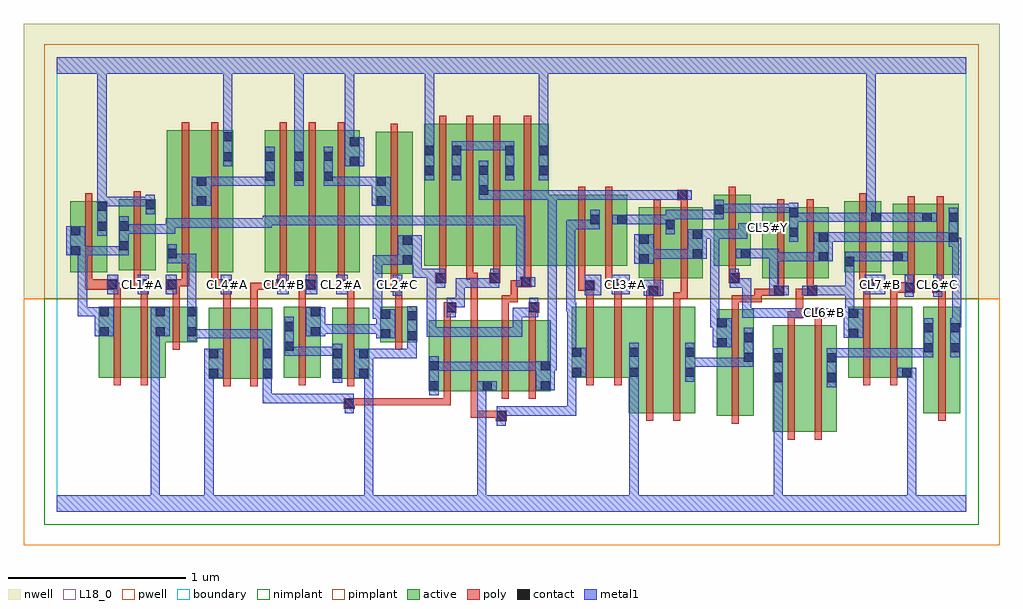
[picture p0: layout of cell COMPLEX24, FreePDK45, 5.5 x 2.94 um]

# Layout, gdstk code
import gdstk
lib = gdstk.Library(unit=1e-6, precision=1e-09)
def R(c, l, rs):  # rectangles x0, y0, x1, y1
    for r in rs: c.add(gdstk.rectangle(r[:2], r[2:], *l))
def A(c, l, x, y, w, h, nx, ny, dx, dy):  # array of equal rectangles
    R(c, l, [(x+i*dx, y+j*dy, x+i*dx+w, y+j*dy+h) for i in range(nx) for j in range(ny)])
active = (1, 0)
pwell = (2, 0)
nwell = (3, 0)
nimplant = (4, 0)
pimplant = (5, 0)
poly = (9, 0)
contact = (10, 0)
metal1 = (11, 0)
L18_0 = (18, 0)
boundary = (235, 0)

complex24 = lib.new_cell('COMPLEX24')
R(complex24, active, [(4.032,0.45,4.092,1.05), (4.032,0.45,4.212,1.05), (4.212,0.45,4.392,1.05), (3.716,0.54,3.924,1.14), (3.22,0.556,3.28,1.156), (3.22,0.556,3.414,1.156), (3.414,0.556,3.594,1.156), (3.534,0.556,3.594,1.156), (3.716,0.556,3.776,1.14), (3.864,0.556,3.924,1.14), (4.332,0.556,4.392,1.05), (4.88,0.556,4.94,1.156), (4.88,0.556,5.088,1.156), (5.028,0.556,5.088,1.156), (2.094,0.68,2.154,1.08), (2.094,0.68,2.274,1.08), (2.274,0.68,2.454,1.08), (2.394,0.68,2.6,1.08), (2.394,0.68,2.454,0.758), (2.6,0.68,2.78,1.08), (2.72,0.68,2.78,1.08), (0.854,0.75,0.914,1.15), (0.854,0.75,1.034,1.15), (1.034,0.75,1.214,1.15), (1.154,0.75,1.214,1.15), (1.55,0.75,1.61,1.15), (1.55,0.75,1.758,1.15), (1.698,0.75,1.758,1.15), (0.236,0.756,0.296,1.156), (0.236,0.756,0.416,1.156), (0.416,0.756,0.612,1.156), (0.552,0.756,0.612,1.156), (1.278,0.756,1.338,1.156), (1.278,0.756,1.486,1.156), (1.426,0.756,1.486,1.156), (2.898,0.756,2.958,1.156), (2.898,0.756,3.084,1.156), (3.084,0.756,3.28,1.156), (4.456,0.756,4.516,1.156), (4.456,0.756,4.636,1.156), (4.636,0.756,4.816,1.156), (4.756,0.756,4.816,1.156), (0.552,0.956,0.79,1.156), (0.73,0.956,0.79,1.156), (1.822,0.956,1.882,1.156), (1.822,0.956,2.03,1.156), (1.97,0.956,2.03,1.156), (3.276,1.314,3.484,1.714), (3.276,1.314,3.336,1.644), (3.424,1.314,3.484,1.714), (3.424,1.314,3.636,1.714), (3.576,1.314,3.636,1.644), (3.972,1.316,4.032,1.716), (3.972,1.316,4.18,1.716), (4.12,1.316,4.18,1.716), (4.12,1.316,4.346,1.716), (4.286,1.316,4.346,1.644), (4.706,1.334,4.93,1.734), (4.706,1.334,4.766,1.644), (4.87,1.334,5.078,1.734), (5.018,1.334,5.078,1.734), (1.796,1.34,2.004,2.14), (1.796,1.34,1.856,2.044), (1.944,1.34,2.004,2.044), (0.076,1.35,0.136,1.75), (0.076,1.35,0.284,1.75), (0.224,1.35,0.284,1.75), (0.62,1.35,0.844,2.15), (0.62,1.35,0.68,2.044), (0.784,1.35,0.992,2.15), (0.932,1.35,0.992,2.15), (1.17,1.35,1.394,2.15), (1.17,1.35,1.23,2.044), (1.334,1.35,1.558,2.15), (1.498,1.35,1.706,2.15), (1.646,1.35,1.706,2.15), (4.434,1.35,4.642,1.75), (4.434,1.35,4.494,1.644), (0.348,1.36,0.556,1.76), (0.348,1.36,0.408,1.644), (2.068,1.386,2.28,2.186), (2.22,1.386,2.28,2.186), (2.22,1.386,2.432,2.186), (2.372,1.386,2.58,2.186), (2.372,1.386,2.432,2.044), (2.52,1.386,2.77,2.186), (2.52,1.386,2.58,2.186), (2.71,1.386,3.06,1.786), (3,1.386,3.06,1.786), (3,1.386,3.212,1.786), (3.152,1.386,3.212,1.786), (3.7,1.386,3.76,1.786), (3.7,1.386,3.908,1.786), (3.848,1.386,3.908,1.644), (0.496,1.452,0.556,1.76), (4.582,1.452,4.642,1.75), (2.71,1.464,2.77,2.186), (4.87,1.464,4.93,1.734), (2.068,1.572,2.128,2.186), (0.784,1.686,0.844,2.044), (1.334,1.686,1.394,2.15), (1.498,1.686,1.558,2.044)])
R(complex24, pwell, [(-0.188,-0.188,5.308,1.2)])
R(complex24, nwell, [(-0.188,1.2,5.308,2.748)])
R(complex24, nimplant, [(-0.072,-0.072,5.192,1.2)])
R(complex24, pimplant, [(-0.072,1.2,5.192,2.632)])
A(complex24, poly, 1.254, 1.27, 0.04, 0.076, 3, 1, 0.164, 0)
A(complex24, poly, 1.254, 1.306, 0.04, 0.888, 3, 1, 0.164, 0)
A(complex24, poly, 2.152, 1.306, 0.04, 0.076, 3, 1, 0.152, 0)
A(complex24, poly, 2.152, 1.342, 0.04, 0.888, 3, 1, 0.152, 0)
R(complex24, poly, [(4.116,0.406,4.156,1.094), (4.268,0.406,4.308,1.094), (3.8,0.496,3.84,1.184), (2.472,0.51,2.532,0.57), (3.318,0.512,3.358,1.2), (3.47,0.512,3.51,1.2), (4.964,0.512,5.004,1.2), (2.33,0.53,2.37,0.57), (2.33,0.53,2.37,0.57), (2.33,0.53,2.37,0.57), (2.33,0.53,2.512,0.57), (2.33,0.53,2.37,0.676), (1.616,0.58,1.676,0.64), (1.636,0.6,1.676,0.64), (1.636,0.6,1.676,0.64), (1.636,0.6,1.782,0.64), (1.742,0.6,1.782,0.64), (1.742,0.6,1.782,0.64), (1.742,0.6,1.782,0.64), (1.742,0.6,1.888,0.64), (1.848,0.6,1.888,0.64), (1.848,0.6,2.218,0.64), (2.178,0.6,2.218,0.676), (2.178,0.6,2.218,0.64), (2.178,0.6,2.218,0.64), (2.178,0.6,2.218,0.64), (2.178,0.636,2.218,1.124), (2.33,0.636,2.37,1.124), (2.504,0.636,2.544,1.124), (2.656,0.636,2.696,1.124), (0.938,0.706,0.978,1.194), (1.09,0.706,1.13,1.194), (1.634,0.706,1.674,1.194), (0.32,0.712,0.36,1.2), (0.472,0.712,0.512,1.2), (1.362,0.712,1.402,1.2), (2.982,0.712,3.022,1.2), (3.14,0.712,3.18,1.2), (4.54,0.712,4.58,1.2), (4.692,0.712,4.732,1.2), (0.652,0.912,0.692,1.2), (1.906,0.912,1.946,1.2), (4.116,1.054,4.156,1.13), (4.268,1.054,4.308,1.13), (2.178,1.084,2.218,1.16), (2.33,1.084,2.37,1.346), (2.504,1.084,2.544,1.22), (2.656,1.084,2.696,1.16), (4.116,1.09,4.156,1.13), (4.116,1.09,4.202,1.13), (4.162,1.09,4.202,1.13), (4.162,1.09,4.202,1.256), (4.268,1.09,4.328,1.15), (2.178,1.12,2.25,1.18), (2.656,1.12,2.716,1.18), (3.8,1.144,3.84,1.22), (0.938,1.154,0.978,1.29), (1.09,1.154,1.13,1.29), (1.634,1.154,1.674,1.29), (0.32,1.16,0.36,1.29), (0.472,1.16,0.512,1.29), (0.652,1.16,0.692,1.29), (1.362,1.16,1.402,1.29), (1.906,1.16,1.946,1.28), (2.982,1.16,3.022,1.284), (3.14,1.16,3.18,1.29), (3.318,1.16,3.358,1.254), (3.47,1.16,3.51,1.236), (4.54,1.16,4.58,1.29), (4.692,1.16,4.732,1.274), (4.964,1.16,5.004,1.274), (2.504,1.18,2.544,1.22), (2.504,1.18,2.596,1.22), (2.556,1.18,2.596,1.22), (2.556,1.18,2.596,1.304), (3.8,1.18,3.84,1.22), (3.8,1.18,3.84,1.22), (3.8,1.18,3.84,1.22), (3.8,1.18,3.968,1.22), (3.928,1.18,3.968,1.256), (3.928,1.18,3.968,1.22), (3.47,1.196,3.51,1.236), (3.47,1.196,3.51,1.236), (3.47,1.196,3.552,1.236), (3.512,1.196,3.552,1.31), (3.318,1.214,3.37,1.254), (3.33,1.214,3.37,1.254), (3.33,1.214,3.4,1.274), (3.928,1.216,3.968,1.256), (3.928,1.216,4.076,1.256), (4.036,1.216,4.096,1.276), (4.162,1.216,4.202,1.256), (4.162,1.216,4.262,1.256), (4.222,1.216,4.282,1.276), (3.36,1.234,3.4,1.31), (4.692,1.234,4.83,1.294), (4.93,1.234,4.994,1.294), (4.954,1.234,4.994,1.274), (4.954,1.234,5.004,1.274), (4.056,1.236,4.096,1.312), (4.222,1.236,4.262,1.312), (1.88,1.24,1.946,1.3), (1.906,1.24,1.946,1.28), (1.906,1.24,1.946,1.28), (2.936,1.244,3.028,1.304), (2.982,1.244,3.022,1.284), (2.982,1.244,3.022,1.284), (0.16,1.25,0.34,1.31), (0.3,1.25,0.34,1.29), (0.3,1.25,0.36,1.29), (0.432,1.25,0.51,1.31), (0.47,1.25,0.51,1.29), (0.47,1.25,0.512,1.29), (0.62,1.25,0.692,1.31), (0.868,1.25,0.978,1.31), (0.938,1.25,0.978,1.29), (0.938,1.25,0.978,1.29), (1.09,1.25,1.276,1.29), (1.236,1.25,1.276,1.29), (1.236,1.25,1.296,1.31), (1.362,1.25,1.438,1.29), (1.398,1.25,1.438,1.29), (1.398,1.25,1.458,1.31), (1.582,1.25,1.642,1.31), (1.602,1.25,1.642,1.29), (1.602,1.25,1.674,1.29), (3.088,1.25,3.18,1.31), (3.14,1.25,3.18,1.29), (3.14,1.25,3.18,1.29), (4.518,1.25,4.604,1.31), (4.54,1.25,4.58,1.29), (4.54,1.25,4.58,1.29), (4.79,1.254,4.83,1.33), (4.79,1.254,4.83,1.294), (4.79,1.254,4.83,1.294), (4.954,1.254,4.994,1.33), (1.88,1.26,1.92,1.336), (2.556,1.264,2.596,1.304), (2.556,1.264,2.65,1.304), (2.61,1.264,2.67,1.324), (2.936,1.264,2.976,1.382), (0.16,1.27,0.2,1.346), (0.432,1.27,0.472,1.356), (0.652,1.27,0.692,1.31), (0.652,1.27,0.744,1.31), (0.704,1.27,0.744,1.346), (0.868,1.27,0.908,1.346), (3.088,1.27,3.128,1.382), (3.36,1.27,3.4,1.758), (3.512,1.27,3.552,1.758), (4.518,1.27,4.558,1.346), (4.056,1.272,4.096,1.76), (4.222,1.272,4.262,1.76), (2.63,1.284,2.67,1.382), (2.132,1.286,2.192,1.346), (2.436,1.286,2.496,1.346), (3.784,1.286,3.844,1.346), (4.79,1.29,4.83,1.778), (4.954,1.29,4.994,1.778), (1.88,1.296,1.92,2.184), (0.16,1.306,0.2,1.794), (0.704,1.306,0.744,2.194), (0.868,1.306,0.908,2.194), (2.304,1.306,2.356,1.346), (2.316,1.306,2.356,1.346), (2.316,1.306,2.37,1.346), (3.784,1.306,3.824,1.382), (4.518,1.306,4.558,1.794), (0.432,1.316,0.472,1.804), (2.63,1.342,2.67,2.23), (2.936,1.342,2.976,1.83), (3.088,1.342,3.128,1.83), (3.784,1.342,3.824,1.83), (3.512,1.718,3.552,1.794), (3.492,1.754,3.552,1.814)])
A(complex24, contact, 0.284, 1.254, 0.052, 0.052, 3, 1, 0.17, 0)
A(complex24, contact, 1.174, 1.864, 0.052, 0.052, 3, 2, 0.164, 0.112)
R(complex24, contact, [(2.476,0.514,2.528,0.566), (1.62,0.584,1.672,0.636), (2.098,0.684,2.15,0.736), (2.398,0.684,2.45,0.736), (2.724,0.684,2.776,0.736), (4.036,0.73,4.088,0.782), (4.336,0.73,4.388,0.782), (0.858,0.754,0.91,0.806), (1.158,0.754,1.21,0.806), (1.554,0.754,1.606,0.806), (1.702,0.754,1.754,0.806), (2.902,0.76,2.954,0.812), (3.224,0.76,3.276,0.812), (3.538,0.76,3.59,0.812), (4.76,0.76,4.812,0.812), (2.098,0.796,2.15,0.848), (2.724,0.796,2.776,0.848), (4.036,0.842,4.088,0.894), (4.336,0.842,4.388,0.894), (3.868,0.844,3.92,0.896), (0.858,0.866,0.91,0.918), (1.158,0.866,1.21,0.918), (1.554,0.866,1.606,0.918), (1.702,0.866,1.754,0.918), (2.902,0.872,2.954,0.924), (3.224,0.872,3.276,0.924), (3.538,0.872,3.59,0.924), (4.884,0.898,4.936,0.95), (5.032,0.898,5.084,0.95), (1.282,0.906,1.334,0.958), (3.72,0.926,3.772,0.978), (3.868,0.956,3.92,1.008), (1.974,0.966,2.026,1.018), (1.826,0.976,1.878,1.028), (4.46,0.98,4.512,1.032), (0.24,0.988,0.292,1.04), (0.556,0.988,0.608,1.04), (0.734,0.988,0.786,1.04), (1.43,0.988,1.482,1.04), (4.884,1.01,4.936,1.062), (5.032,1.01,5.084,1.062), (1.282,1.018,1.334,1.07), (3.72,1.038,3.772,1.09), (1.974,1.078,2.026,1.13), (1.826,1.088,1.878,1.14), (4.46,1.092,4.512,1.144), (4.272,1.094,4.324,1.146), (0.24,1.1,0.292,1.152), (0.556,1.1,0.608,1.152), (0.734,1.1,0.786,1.152), (1.43,1.1,1.482,1.152), (2.194,1.124,2.246,1.176), (2.66,1.124,2.712,1.176), (3.334,1.218,3.386,1.27), (4.04,1.22,4.092,1.272), (4.226,1.22,4.278,1.272), (4.774,1.238,4.826,1.29), (4.934,1.238,4.986,1.29), (1.89,1.244,1.942,1.296), (2.972,1.248,3.024,1.3), (0.922,1.254,0.974,1.306), (1.24,1.254,1.292,1.306), (1.402,1.254,1.454,1.306), (1.586,1.254,1.638,1.306), (3.124,1.254,3.176,1.306), (4.548,1.254,4.6,1.306), (2.614,1.268,2.666,1.32), (2.136,1.29,2.188,1.342), (2.44,1.29,2.492,1.342), (3.788,1.29,3.84,1.342), (4.438,1.384,4.49,1.436), (1.948,1.392,2,1.444), (3.28,1.398,3.332,1.45), (4.29,1.41,4.342,1.462), (4.71,1.412,4.762,1.464), (3.58,1.426,3.632,1.478), (0.624,1.428,0.676,1.48), (3.852,1.428,3.904,1.48), (0.08,1.444,0.132,1.496), (0.352,1.472,0.404,1.524), (1.948,1.504,2,1.556), (3.28,1.51,3.332,1.562), (5.022,1.52,5.074,1.572), (4.29,1.522,4.342,1.574), (3.58,1.538,3.632,1.59), (4.124,1.548,4.176,1.6), (0.08,1.556,0.132,1.608), (3.976,1.574,4.028,1.626), (0.228,1.582,0.28,1.634), (0.352,1.584,0.404,1.636), (3.428,1.592,3.48,1.644), (3.004,1.62,3.056,1.672), (3.156,1.62,3.208,1.672), (4.586,1.632,4.638,1.684), (4.874,1.632,4.926,1.684), (5.022,1.632,5.074,1.684), (4.124,1.66,4.176,1.712), (3.704,1.676,3.756,1.728), (0.228,1.694,0.28,1.746), (0.5,1.704,0.552,1.756), (0.788,1.724,0.84,1.776), (1.8,1.724,1.852,1.776), (3.496,1.758,3.548,1.81), (2.376,1.786,2.428,1.838), (0.788,1.836,0.84,1.888), (1.8,1.836,1.852,1.888), (2.072,1.896,2.124,1.948), (2.224,1.896,2.276,1.948), (2.524,1.896,2.576,1.948), (2.714,1.896,2.766,1.948), (2.376,1.898,2.428,1.95), (1.65,1.946,1.702,1.998), (0.936,1.974,0.988,2.026), (2.072,2.008,2.124,2.06), (2.224,2.008,2.276,2.06), (2.524,2.008,2.576,2.06), (2.714,2.008,2.766,2.06), (1.65,2.058,1.702,2.11), (0.936,2.086,0.988,2.138)])
A(complex24, metal1, 2.246, 1.262, 0.052, 0.052, 3, 1, 0.084, 0)
A(complex24, metal1, 0.938, 1.6, 0.052, 0.052, 3, 1, 0.11, 0)
A(complex24, metal1, 1.174, 1.836, 0.052, 0.22, 3, 1, 0.164, 0)
R(complex24, metal1, [(0,0,5.12,0.092), (0.528,0.04,0.58,0.092), (0.528,0.04,0.58,0.092), (0.528,0.04,0.58,0.092), (0.528,0.04,0.58,0.092), (0.528,0.04,0.58,0.092), (0.528,0.04,0.58,0.092), (0.528,0.04,0.58,1.04), (0.83,0.04,0.882,0.092), (0.83,0.04,0.882,0.092), (0.83,0.04,0.882,0.092), (0.83,0.04,0.882,0.092), (0.83,0.04,0.882,0.092), (0.83,0.04,0.882,0.092), (0.83,0.04,0.882,0.092), (0.83,0.04,0.882,0.092), (0.83,0.04,0.882,0.806), (1.73,0.04,1.782,0.092), (1.73,0.04,1.782,0.092), (1.73,0.04,1.782,0.092), (1.73,0.04,1.782,0.092), (1.73,0.04,1.782,0.092), (1.73,0.04,1.782,0.092), (1.73,0.04,1.782,0.092), (1.73,0.04,1.782,0.092), (1.73,0.04,1.782,0.092), (1.73,0.04,1.782,0.092), (1.73,0.04,1.782,0.806), (2.366,0.04,2.418,0.092), (2.366,0.04,2.418,0.092), (2.366,0.04,2.418,0.092), (2.366,0.04,2.418,0.092), (2.366,0.04,2.418,0.092), (2.366,0.04,2.418,0.092), (2.366,0.04,2.418,0.092), (2.366,0.04,2.418,0.092), (2.366,0.04,2.418,0.092), (2.366,0.04,2.418,0.092), (2.366,0.04,2.418,0.736), (3.224,0.04,3.276,0.092), (3.224,0.04,3.276,0.092), (3.224,0.04,3.276,0.784), (4.036,0.04,4.088,0.754), (4.788,0.04,4.84,0.192), (4.788,0.14,4.84,0.192), (4.788,0.14,4.84,0.192), (4.788,0.14,4.84,0.192), (4.788,0.14,4.84,0.192), (4.788,0.14,4.84,0.192), (4.788,0.14,4.84,0.192), (4.788,0.14,4.84,0.192), (4.788,0.14,4.84,0.192), (4.788,0.14,4.84,0.192), (4.788,0.14,4.84,0.192), (4.788,0.14,4.84,0.192), (4.788,0.14,4.84,0.812), (2.476,0.486,2.528,0.594), (2.476,0.542,2.638,0.594), (2.586,0.542,2.638,0.594), (2.586,0.542,2.748,0.594), (2.696,0.542,2.748,0.594), (2.696,0.542,2.748,0.594), (2.696,0.542,2.748,0.594), (2.696,0.542,2.926,0.594), (2.874,0.542,2.926,0.594), (2.874,0.542,2.926,0.812), (1.62,0.556,1.672,0.664), (1.158,0.612,1.21,0.664), (1.158,0.612,1.32,0.664), (1.158,0.612,1.21,0.778), (1.268,0.612,1.32,0.664), (1.268,0.612,1.32,0.664), (1.268,0.612,1.32,0.664), (1.268,0.612,1.516,0.664), (1.464,0.612,1.516,0.664), (1.464,0.612,1.516,0.664), (1.464,0.612,1.516,0.664), (1.464,0.612,1.672,0.664), (2.098,0.656,2.15,0.876), (2.366,0.684,2.418,0.736), (2.366,0.684,2.418,0.736), (2.366,0.684,2.478,0.736), (2.696,0.684,2.804,0.848), (4.036,0.702,4.088,0.754), (4.036,0.702,4.088,0.754), (4.036,0.702,4.088,0.754), (4.036,0.702,4.088,0.754), (4.036,0.702,4.088,0.754), (4.036,0.702,4.088,0.754), (4.036,0.702,4.088,0.754), (4.036,0.702,4.088,0.754), (4.036,0.702,4.088,0.922), (4.336,0.702,4.388,0.922), (1.158,0.726,1.21,0.778), (1.158,0.726,1.21,0.778), (1.158,0.726,1.21,0.778), (1.158,0.726,1.21,0.778), (1.158,0.726,1.21,0.778), (1.158,0.726,1.21,0.778), (1.158,0.726,1.21,0.946), (1.554,0.726,1.606,0.946), (3.224,0.732,3.276,0.784), (3.224,0.732,3.276,0.784), (3.224,0.732,3.276,0.784), (3.224,0.732,3.276,0.784), (3.224,0.732,3.276,0.784), (3.224,0.732,3.276,0.784), (3.224,0.732,3.276,0.952), (3.538,0.732,3.59,0.952), (0.83,0.754,0.882,0.806), (0.83,0.754,0.882,0.806), (0.83,0.754,0.882,0.806), (0.83,0.754,0.882,0.806), (0.83,0.754,0.938,0.918), (1.674,0.754,1.782,0.918), (1.73,0.754,1.782,0.806), (1.73,0.754,1.782,0.806), (2.874,0.76,2.982,0.924), (4.732,0.76,4.84,0.812), (2.098,0.794,2.272,0.846), (2.22,0.794,2.272,0.846), (2.22,0.794,2.272,0.846), (2.22,0.794,2.272,0.846), (2.22,0.794,2.382,0.846), (2.33,0.794,2.382,0.846), (2.33,0.794,2.466,0.846), (2.414,0.794,2.466,0.846), (2.414,0.794,2.492,0.846), (2.44,0.794,2.492,0.846), (2.44,0.794,2.638,0.846), (2.586,0.794,2.638,0.846), (2.586,0.794,2.638,0.846), (2.586,0.794,2.638,0.846), (2.586,0.794,2.748,0.846), (2.752,0.796,2.804,0.848), (2.752,0.796,2.816,0.848), (2.764,0.796,2.816,1.81), (3.538,0.816,3.594,0.868), (3.542,0.816,3.594,0.868), (3.542,0.816,3.888,0.868), (3.836,0.816,3.888,0.868), (3.836,0.816,3.92,0.868), (3.868,0.816,3.92,1.036), (1.73,0.866,1.782,0.918), (1.73,0.866,1.782,0.918), (1.73,0.866,1.934,0.918), (1.882,0.866,1.934,0.918), (1.882,0.866,2.026,0.918), (1.974,0.866,2.026,0.918), (1.974,0.866,2.026,0.918), (1.974,0.866,2.026,0.918), (1.974,0.866,2.026,0.99), (4.336,0.87,4.498,0.922), (4.446,0.87,4.498,0.922), (4.446,0.87,4.498,0.922), (4.446,0.87,4.498,0.922), (4.446,0.87,4.674,0.922), (4.622,0.87,4.674,0.922), (4.622,0.87,4.674,0.922), (4.622,0.87,4.674,0.922), (4.622,0.87,4.826,0.922), (4.774,0.87,4.826,0.922), (4.774,0.87,4.826,0.922), (4.774,0.87,4.826,0.922), (4.774,0.87,4.936,0.922), (4.884,0.87,4.936,1.09), (5.032,0.87,5.084,1.09), (2.874,0.872,2.926,0.924), (2.874,0.872,2.926,0.924), (2.874,0.872,2.926,0.924), (2.874,0.872,2.926,0.924), (2.874,0.872,2.926,1.18), (1.282,0.878,1.334,0.93), (1.282,0.878,1.334,0.93), (1.282,0.878,1.334,1.098), (1.282,0.878,1.444,0.93), (1.392,0.878,1.444,0.93), (1.392,0.878,1.606,0.93), (1.158,0.894,1.21,0.946), (1.158,0.894,1.21,1.028), (3.692,0.926,3.8,1.09), (1.974,0.938,2.026,1.158), (0.734,0.96,0.786,1.18), (0.734,0.976,0.786,1.028), (0.734,0.976,0.786,1.028), (0.734,0.976,0.99,1.028), (0.938,0.976,0.99,1.028), (0.938,0.976,0.99,1.028), (0.938,0.976,0.99,1.028), (0.938,0.976,1.1,1.028), (1.048,0.976,1.1,1.028), (1.048,0.976,1.21,1.028), (1.798,0.976,1.906,1.14), (4.432,0.98,4.54,1.144), (2.084,0.986,2.136,1.038), (2.084,0.986,2.136,1.038), (2.084,0.986,2.136,1.038), (2.084,0.986,2.27,1.038), (2.084,0.986,2.136,1.37), (2.218,0.986,2.27,1.038), (2.218,0.986,2.27,1.038), (2.218,0.986,2.27,1.038), (2.218,0.986,2.382,1.038), (2.33,0.986,2.382,1.038), (2.33,0.986,2.466,1.038), (2.414,0.986,2.466,1.038), (2.414,0.986,2.492,1.038), (2.44,0.986,2.492,1.038), (2.44,0.986,2.62,1.038), (2.568,0.986,2.62,1.038), (2.568,0.986,2.62,1.148), (0.212,0.988,0.32,1.152), (0.528,0.988,0.58,1.04), (0.528,0.988,0.58,1.04), (0.528,0.988,0.58,1.04), (0.528,0.988,0.58,1.04), (0.528,0.988,0.58,1.04), (0.528,0.988,0.58,1.04), (0.528,0.988,0.636,1.152), (1.402,0.988,1.51,1.152), (1.458,1.004,1.51,1.056), (1.458,1.004,1.51,1.056), (1.458,1.004,1.664,1.056), (1.612,1.004,1.664,1.056), (1.612,1.004,1.664,1.056), (1.612,1.004,1.664,1.056), (1.612,1.004,1.664,1.056), (1.612,1.004,1.664,1.056), (1.612,1.004,1.85,1.056), (3.678,1.038,3.73,1.09), (3.678,1.038,3.73,1.09), (3.678,1.038,3.73,1.59), (3.678,1.038,3.744,1.09), (3.692,1.038,3.744,1.09), (5.032,1.038,5.084,1.09), (5.032,1.038,5.094,1.09), (5.042,1.038,5.094,1.544), (1.78,1.088,1.832,1.444), (1.78,1.088,1.85,1.14), (1.798,1.088,1.85,1.14), (4.438,1.092,4.49,1.144), (4.438,1.092,4.49,1.144), (4.438,1.092,4.49,1.272), (3.858,1.094,3.91,1.146), (3.858,1.094,3.91,1.314), (3.858,1.094,4.064,1.146), (4.012,1.094,4.064,1.146), (4.012,1.094,4.064,1.146), (4.012,1.094,4.064,1.146), (4.012,1.094,4.174,1.146), (4.122,1.094,4.174,1.146), (4.122,1.094,4.296,1.146), (4.244,1.094,4.374,1.146), (2.194,1.096,2.246,1.204), (2.568,1.096,2.62,1.148), (2.568,1.096,2.712,1.148), (2.66,1.096,2.712,1.204), (0.118,1.1,0.17,1.496), (0.118,1.1,0.264,1.152), (0.212,1.1,0.264,1.152), (0.734,1.128,0.786,1.18), (0.734,1.128,0.786,1.18), (0.734,1.128,0.786,1.18), (0.734,1.128,0.786,1.18), (0.734,1.128,0.786,1.452), (2.868,1.128,2.926,1.18), (2.868,1.128,2.92,1.64), (2.874,1.128,2.926,1.18), (2.874,1.128,2.926,1.18), (2.194,1.152,2.298,1.204), (2.246,1.152,2.298,1.204), (2.246,1.152,2.298,1.314), (4.774,1.21,4.826,1.334), (4.934,1.21,4.986,1.334), (1.89,1.216,1.946,1.334), (3.306,1.218,3.414,1.306), (2.972,1.22,3.066,1.334), (4.012,1.22,4.064,1.272), (4.012,1.22,4.064,1.272), (4.012,1.22,4.12,1.272), (4.012,1.22,4.064,1.462), (4.198,1.22,4.306,1.272), (4.254,1.22,4.306,1.272), (4.254,1.22,4.306,1.272), (4.254,1.22,4.49,1.272), (4.438,1.22,4.49,1.272), (4.438,1.22,4.49,1.408), (0.284,1.224,0.346,1.334), (0.454,1.226,0.516,1.336), (0.614,1.226,0.676,1.336), (0.922,1.226,0.986,1.334), (1.24,1.226,1.306,1.334), (1.402,1.226,1.466,1.334), (1.574,1.226,1.638,1.334), (3.124,1.226,3.226,1.334), (4.548,1.226,4.666,1.334), (2.136,1.262,2.188,1.37), (2.246,1.262,2.382,1.314), (2.33,1.262,2.466,1.314), (2.414,1.262,2.492,1.314), (2.44,1.262,2.492,1.37), (3.788,1.262,3.84,1.37), (3.788,1.262,3.91,1.314), (3.858,1.262,3.91,1.314), (2.586,1.268,2.638,1.32), (2.586,1.268,2.638,1.32), (2.586,1.268,2.638,1.32), (2.586,1.268,2.638,1.32), (2.586,1.268,2.694,1.32), (2.586,1.268,2.638,1.666), (2.004,1.318,2.056,1.37), (2.004,1.318,2.136,1.37), (2.004,1.318,2.056,1.444), (2.084,1.318,2.136,1.37), (2.084,1.318,2.188,1.37), (4.438,1.356,4.49,1.464), (1.78,1.392,1.832,1.444), (1.78,1.392,1.832,1.444), (1.78,1.392,1.832,1.444), (1.78,1.392,1.832,1.444), (1.78,1.392,1.832,1.444), (1.78,1.392,1.972,1.444), (1.92,1.392,1.972,1.444), (1.92,1.392,1.972,1.444), (1.92,1.392,2.056,1.556), (3.252,1.398,3.36,1.562), (0.624,1.4,0.676,1.452), (0.624,1.4,0.676,1.452), (0.624,1.4,0.786,1.452), (0.624,1.4,0.676,1.508), (0.734,1.4,0.786,1.452), (4.012,1.41,4.064,1.462), (4.012,1.41,4.064,1.462), (4.012,1.41,4.196,1.462), (4.012,1.41,4.064,1.48), (4.144,1.41,4.196,1.462), (4.144,1.41,4.314,1.462), (4.262,1.41,4.314,1.462), (4.262,1.41,4.314,1.462), (4.262,1.41,4.37,1.574), (4.438,1.412,4.498,1.464), (4.446,1.412,4.498,1.464), (4.446,1.412,4.61,1.464), (4.558,1.412,4.61,1.464), (4.558,1.412,4.734,1.464), (4.682,1.412,4.79,1.464), (3.308,1.426,3.36,1.478), (3.308,1.426,3.36,1.478), (3.308,1.426,3.48,1.478), (3.428,1.426,3.48,1.478), (3.428,1.426,3.484,1.478), (3.432,1.426,3.484,1.478), (3.432,1.426,3.604,1.478), (3.552,1.426,3.66,1.59), (3.824,1.428,3.932,1.48), (3.88,1.428,4.064,1.48), (0.052,1.444,0.16,1.608), (0.108,1.444,0.16,1.496), (0.108,1.444,0.16,1.496), (0.108,1.444,0.16,1.496), (0.108,1.444,0.17,1.496), (0.108,1.444,0.396,1.496), (0.118,1.444,0.17,1.496), (0.118,1.444,0.17,1.496), (0.344,1.444,0.396,1.496), (0.344,1.444,0.404,1.496), (0.352,1.444,0.404,1.664), (5.022,1.492,5.074,1.544), (5.022,1.492,5.074,1.712), (5.022,1.492,5.094,1.544), (5.042,1.492,5.094,1.544), (5.042,1.492,5.094,1.544), (4.124,1.52,4.176,1.74), (4.318,1.522,4.37,1.574), (4.318,1.522,4.37,1.574), (4.318,1.522,4.498,1.574), (4.446,1.522,4.498,1.574), (4.446,1.522,4.498,1.574), (4.446,1.522,4.498,1.574), (4.446,1.522,4.674,1.574), (4.622,1.522,4.674,1.574), (4.622,1.522,4.674,1.574), (4.622,1.522,4.674,1.574), (4.622,1.522,4.818,1.574), (4.766,1.522,4.818,1.574), (4.766,1.522,4.818,1.574), (4.766,1.522,4.818,1.574), (4.766,1.522,4.936,1.574), (4.884,1.522,4.936,1.574), (4.884,1.522,5.074,1.574), (5.022,1.522,5.074,1.574), (5.022,1.522,5.074,1.574), (3.608,1.538,3.73,1.59), (3.678,1.538,3.73,1.59), (3.678,1.538,3.73,1.59), (3.678,1.538,3.73,1.59), (3.678,1.538,3.888,1.59), (3.836,1.538,3.888,1.626), (0.228,1.554,0.28,1.774), (3.428,1.564,3.48,1.672), (0.352,1.566,0.556,1.618), (0.504,1.566,0.556,1.618), (0.504,1.566,0.556,1.618), (0.504,1.566,0.556,1.618), (0.504,1.566,0.666,1.618), (0.614,1.566,0.666,1.652), (3.836,1.574,3.888,1.626), (3.836,1.574,3.888,1.626), (3.836,1.574,3.998,1.626), (3.946,1.574,4.056,1.626), (2.868,1.588,2.92,1.64), (2.868,1.588,2.92,1.64), (2.868,1.588,2.926,1.64), (2.874,1.588,2.926,1.64), (2.874,1.588,2.926,1.64), (2.874,1.588,2.926,1.64), (2.874,1.588,2.926,1.644), (2.874,1.592,3.056,1.644), (3.004,1.592,3.056,1.7), (0.614,1.6,0.666,1.652), (0.614,1.6,0.666,1.652), (0.614,1.6,0.864,1.652), (0.812,1.6,0.864,1.652), (0.812,1.6,0.864,1.652), (0.812,1.6,0.864,1.652), (0.812,1.6,0.99,1.652), (0.938,1.6,0.99,1.652), (0.938,1.6,0.99,1.652), (0.938,1.6,1.1,1.652), (1.048,1.6,1.21,1.652), (1.158,1.6,1.21,1.652), (1.158,1.6,1.21,1.666), (1.158,1.614,1.32,1.666), (1.268,1.614,1.32,1.666), (1.268,1.614,1.32,1.666), (1.268,1.614,1.32,1.666), (1.268,1.614,1.444,1.666), (1.392,1.614,1.444,1.666), (1.392,1.614,1.444,1.666), (1.392,1.614,1.444,1.666), (1.392,1.614,1.672,1.666), (1.62,1.614,1.672,1.666), (1.62,1.614,1.672,1.666), (1.62,1.614,1.672,1.666), (1.62,1.614,1.792,1.666), (1.74,1.614,1.792,1.666), (1.74,1.614,1.948,1.666), (1.896,1.614,1.948,1.666), (1.896,1.614,1.948,1.666), (1.896,1.614,1.948,1.666), (1.896,1.614,2.15,1.666), (2.098,1.614,2.15,1.666), (2.098,1.614,2.26,1.666), (2.208,1.614,2.26,1.666), (2.208,1.614,2.26,1.666), (2.208,1.614,2.26,1.666), (2.208,1.614,2.382,1.666), (2.33,1.614,2.382,1.666), (2.33,1.614,2.466,1.666), (2.414,1.614,2.466,1.666), (2.414,1.614,2.492,1.666), (2.44,1.614,2.492,1.666), (2.44,1.614,2.638,1.666), (2.586,1.614,2.638,1.666), (3.128,1.62,3.236,1.672), (3.184,1.62,3.236,1.672), (3.184,1.62,3.236,1.672), (3.184,1.62,3.346,1.672), (3.294,1.62,3.346,1.672), (3.294,1.62,3.48,1.672), (3.428,1.62,3.48,1.672), (3.428,1.62,3.48,1.7), (4.124,1.632,4.374,1.684), (4.322,1.632,4.374,1.684), (4.322,1.632,4.374,1.684), (4.322,1.632,4.374,1.684), (4.322,1.632,4.5,1.684), (4.448,1.632,4.5,1.684), (4.448,1.632,4.5,1.684), (4.448,1.632,4.5,1.684), (4.448,1.632,4.61,1.684), (4.558,1.632,4.61,1.684), (4.558,1.632,4.61,1.684), (4.558,1.632,4.61,1.684), (4.558,1.632,4.61,1.684), (4.558,1.632,4.61,1.684), (4.558,1.632,4.61,1.684), (4.558,1.632,4.61,1.684), (4.558,1.632,4.61,1.684), (4.558,1.632,4.666,1.684), (4.558,1.632,4.61,2.52), (4.614,1.632,4.666,1.684), (4.614,1.632,4.666,1.684), (4.614,1.632,4.784,1.684), (4.732,1.632,4.784,1.684), (4.732,1.632,4.898,1.684), (4.846,1.632,4.954,1.684), (3.428,1.648,3.73,1.7), (3.678,1.648,3.73,1.7), (3.678,1.648,3.756,1.7), (3.704,1.648,3.756,1.756), (0.5,1.676,0.552,1.784), (3.704,1.684,3.866,1.736), (3.814,1.684,3.866,1.736), (3.814,1.684,3.866,1.736), (3.814,1.684,3.866,1.736), (3.814,1.684,4.064,1.736), (4.012,1.684,4.064,1.736), (4.012,1.684,4.064,1.736), (4.012,1.684,4.064,1.736), (4.012,1.684,4.176,1.736), (0.228,1.722,0.28,1.774), (0.228,1.722,0.28,1.774), (0.228,1.722,0.28,1.774), (0.228,1.722,0.28,1.774), (0.228,1.722,0.28,1.774), (0.228,1.722,0.28,1.774), (0.228,1.722,0.28,1.774), (0.228,1.722,0.28,1.774), (0.228,1.722,0.28,1.774), (0.228,1.722,0.28,1.774), (0.228,1.722,0.28,1.774), (0.228,1.722,0.28,1.774), (0.228,1.722,0.28,1.774), (0.228,1.722,0.28,1.774), (0.228,1.722,0.28,1.774), (0.228,1.722,0.28,1.774), (0.228,1.722,0.28,1.774), (0.228,1.722,0.28,1.774), (0.228,1.722,0.552,1.774), (0.228,1.722,0.28,2.52), (0.5,1.722,0.552,1.774), (0.5,1.722,0.552,1.774), (0.76,1.724,0.868,1.888), (1.772,1.724,1.88,1.888), (2.376,1.758,2.428,1.978), (2.376,1.758,2.528,1.81), (2.476,1.758,2.528,1.81), (2.476,1.758,2.638,1.81), (2.586,1.758,2.638,1.81), (2.586,1.758,2.638,1.81), (2.586,1.758,2.638,1.81), (2.586,1.758,2.81,1.81), (2.758,1.758,2.81,1.81), (2.758,1.758,2.81,1.81), (2.758,1.758,2.81,1.81), (2.758,1.758,2.81,1.81), (2.758,1.758,2.81,1.81), (2.758,1.758,2.81,1.81), (2.758,1.758,2.81,1.81), (2.758,1.758,2.81,1.81), (2.758,1.758,2.946,1.81), (2.758,1.758,2.816,1.81), (2.764,1.758,2.816,1.81), (2.764,1.758,2.816,1.81), (2.894,1.758,2.946,1.81), (2.894,1.758,2.946,1.81), (2.894,1.758,2.946,1.81), (2.894,1.758,2.946,1.81), (2.894,1.758,2.946,1.81), (2.894,1.758,3.07,1.81), (3.018,1.758,3.07,1.81), (3.018,1.758,3.07,1.81), (3.018,1.758,3.07,1.81), (3.018,1.758,3.236,1.81), (3.184,1.758,3.236,1.81), (3.184,1.758,3.236,1.81), (3.184,1.758,3.236,1.81), (3.184,1.758,3.346,1.81), (3.294,1.758,3.346,1.81), (3.294,1.758,3.48,1.81), (3.428,1.758,3.48,1.81), (3.428,1.758,3.52,1.81), (3.468,1.758,3.576,1.81), (0.816,1.836,0.99,1.888), (0.938,1.836,0.99,1.888), (0.938,1.836,0.99,1.888), (0.938,1.836,0.99,1.888), (0.938,1.836,1.226,1.888), (1.502,1.836,1.672,1.888), (1.62,1.836,1.672,1.888), (1.62,1.836,1.824,1.888), (1.772,1.836,1.824,1.888), (1.772,1.836,1.824,1.888), (2.072,1.868,2.124,2.088), (2.224,1.868,2.276,2.088), (2.524,1.868,2.576,2.088), (2.714,1.868,2.766,2.088), (0.936,1.946,0.988,2.166), (1.622,1.946,1.73,2.11), (1.338,2.004,1.39,2.056), (1.338,2.004,1.39,2.056), (1.338,2.004,1.39,2.52), (2.072,2.036,2.124,2.088), (2.072,2.036,2.124,2.088), (2.072,2.036,2.124,2.088), (2.072,2.036,2.124,2.088), (2.072,2.036,2.124,2.088), (2.072,2.036,2.124,2.088), (2.072,2.036,2.124,2.52), (2.224,2.036,2.382,2.088), (2.33,2.036,2.382,2.088), (2.33,2.036,2.466,2.088), (2.414,2.036,2.466,2.088), (2.414,2.036,2.528,2.088), (2.476,2.036,2.528,2.088), (2.476,2.036,2.576,2.088), (2.714,2.036,2.766,2.088), (2.714,2.036,2.766,2.088), (2.714,2.036,2.766,2.088), (2.714,2.036,2.766,2.088), (2.714,2.036,2.766,2.52), (1.622,2.058,1.674,2.52), (0.936,2.114,0.988,2.166), (0.936,2.114,0.988,2.166), (0.936,2.114,0.988,2.166), (0.936,2.114,0.988,2.166), (0.936,2.114,0.988,2.166), (0.936,2.114,0.988,2.166), (0.936,2.114,0.988,2.166), (0.936,2.114,0.988,2.166), (0.936,2.114,0.988,2.52), (0,2.468,5.12,2.56), (1.338,2.468,1.39,2.52), (1.338,2.468,1.39,2.52), (1.338,2.468,1.39,2.52), (1.338,2.468,1.39,2.52), (1.338,2.468,1.39,2.52), (1.338,2.468,1.39,2.52), (1.622,2.468,1.674,2.52), (1.622,2.468,1.674,2.52), (1.622,2.468,1.674,2.52), (1.622,2.468,1.674,2.52), (1.622,2.468,1.674,2.52), (1.622,2.468,1.674,2.52), (1.622,2.468,1.674,2.52), (1.622,2.468,1.674,2.52), (2.072,2.468,2.124,2.52), (2.072,2.468,2.124,2.52), (2.714,2.468,2.766,2.52), (2.714,2.468,2.766,2.52), (2.714,2.468,2.766,2.52), (2.714,2.468,2.766,2.52), (4.558,2.468,4.61,2.52), (4.558,2.468,4.61,2.52), (4.558,2.468,4.61,2.52), (4.558,2.468,4.61,2.52), (4.558,2.468,4.61,2.52), (4.558,2.468,4.61,2.52), (4.558,2.468,4.61,2.52), (4.558,2.468,4.61,2.52)])
A(complex24, L18_0, 0.294, 1.254, 0.052, 0.052, 3, 1, 0.16, 0)
A(complex24, L18_0, 1.254, 1.254, 0.052, 0.052, 3, 1, 0.16, 0)
A(complex24, L18_0, 3.014, 1.254, 0.052, 0.052, 3, 1, 0.16, 0)
A(complex24, L18_0, 4.614, 1.254, 0.052, 0.052, 3, 1, 0.16, 0)
R(complex24, L18_0, [(0,0,5.12,0.092), (0.528,0.04,0.58,0.092), (0.528,0.04,0.58,0.092), (0.528,0.04,0.58,0.092), (0.528,0.04,0.58,0.092), (0.528,0.04,0.58,0.092), (0.528,0.04,0.58,0.092), (0.528,0.04,0.58,1.04), (0.83,0.04,0.882,0.092), (0.83,0.04,0.882,0.092), (0.83,0.04,0.882,0.092), (0.83,0.04,0.882,0.092), (0.83,0.04,0.882,0.092), (0.83,0.04,0.882,0.092), (0.83,0.04,0.882,0.092), (0.83,0.04,0.882,0.092), (0.83,0.04,0.882,0.806), (1.73,0.04,1.782,0.092), (1.73,0.04,1.782,0.092), (1.73,0.04,1.782,0.092), (1.73,0.04,1.782,0.092), (1.73,0.04,1.782,0.092), (1.73,0.04,1.782,0.092), (1.73,0.04,1.782,0.092), (1.73,0.04,1.782,0.092), (1.73,0.04,1.782,0.092), (1.73,0.04,1.782,0.092), (1.73,0.04,1.782,0.806), (2.366,0.04,2.418,0.092), (2.366,0.04,2.418,0.092), (2.366,0.04,2.418,0.092), (2.366,0.04,2.418,0.092), (2.366,0.04,2.418,0.092), (2.366,0.04,2.418,0.092), (2.366,0.04,2.418,0.092), (2.366,0.04,2.418,0.092), (2.366,0.04,2.418,0.092), (2.366,0.04,2.418,0.092), (2.366,0.04,2.418,0.736), (3.224,0.04,3.276,0.092), (3.224,0.04,3.276,0.092), (3.224,0.04,3.276,0.784), (4.036,0.04,4.088,0.754), (4.788,0.04,4.84,0.192), (4.788,0.14,4.84,0.192), (4.788,0.14,4.84,0.192), (4.788,0.14,4.84,0.192), (4.788,0.14,4.84,0.192), (4.788,0.14,4.84,0.192), (4.788,0.14,4.84,0.192), (4.788,0.14,4.84,0.192), (4.788,0.14,4.84,0.192), (4.788,0.14,4.84,0.192), (4.788,0.14,4.84,0.192), (4.788,0.14,4.84,0.192), (4.788,0.14,4.84,0.812), (2.366,0.684,2.418,0.736), (2.366,0.684,2.418,0.736), (2.366,0.684,2.478,0.736), (4.036,0.702,4.088,0.922), (4.036,0.702,4.088,0.754), (4.036,0.702,4.088,0.754), (4.036,0.702,4.088,0.754), (4.036,0.702,4.088,0.754), (4.036,0.702,4.088,0.754), (4.036,0.702,4.088,0.754), (4.036,0.702,4.088,0.754), (4.036,0.702,4.088,0.754), (3.224,0.732,3.276,0.952), (3.224,0.732,3.276,0.784), (3.224,0.732,3.276,0.784), (3.224,0.732,3.276,0.784), (3.224,0.732,3.276,0.784), (3.224,0.732,3.276,0.784), (3.224,0.732,3.276,0.784), (0.83,0.754,0.882,0.806), (0.83,0.754,0.882,0.806), (0.83,0.754,0.882,0.806), (0.83,0.754,0.882,0.806), (0.83,0.754,0.938,0.918), (1.674,0.754,1.782,0.918), (1.73,0.754,1.782,0.806), (1.73,0.754,1.782,0.806), (4.732,0.76,4.84,0.812), (1.73,0.866,1.782,0.918), (1.73,0.866,1.782,0.918), (1.73,0.866,1.934,0.918), (1.882,0.866,1.934,0.918), (1.882,0.866,2.026,0.918), (1.974,0.866,2.026,0.918), (1.974,0.866,2.026,0.918), (1.974,0.866,2.026,0.918), (1.974,0.866,2.026,0.99), (3.692,0.926,3.8,1.09), (1.974,0.938,2.026,1.158), (0.528,0.988,0.58,1.04), (0.528,0.988,0.58,1.04), (0.528,0.988,0.58,1.04), (0.528,0.988,0.58,1.04), (0.528,0.988,0.58,1.04), (0.528,0.988,0.58,1.04), (0.528,0.988,0.636,1.152), (3.678,1.038,3.73,1.09), (3.678,1.038,3.73,1.09), (3.678,1.038,3.744,1.09), (3.678,1.038,3.73,1.59), (3.692,1.038,3.744,1.09), (3.858,1.094,3.91,1.314), (3.858,1.094,3.91,1.146), (3.858,1.094,4.064,1.146), (4.012,1.094,4.064,1.146), (4.012,1.094,4.064,1.146), (4.012,1.094,4.064,1.146), (4.012,1.094,4.174,1.146), (4.122,1.094,4.174,1.146), (4.122,1.094,4.296,1.146), (4.244,1.094,4.374,1.146), (4.294,1.094,4.346,1.146), (4.774,1.21,4.826,1.334), (4.934,1.21,4.986,1.334), (1.89,1.216,1.946,1.334), (3.306,1.218,3.414,1.306), (2.972,1.22,3.066,1.334), (0.284,1.224,0.346,1.334), (0.454,1.226,0.516,1.336), (0.614,1.226,0.676,1.336), (0.922,1.226,0.986,1.334), (1.24,1.226,1.306,1.334), (1.402,1.226,1.466,1.334), (1.574,1.226,1.638,1.334), (3.124,1.226,3.226,1.334), (4.548,1.226,4.666,1.334), (0.934,1.254,0.986,1.306), (1.894,1.254,1.946,1.306), (3.788,1.262,3.84,1.37), (3.788,1.262,3.91,1.314), (3.858,1.262,3.91,1.314), (3.252,1.398,3.36,1.562), (3.308,1.426,3.36,1.478), (3.308,1.426,3.36,1.478), (3.308,1.426,3.48,1.478), (3.428,1.426,3.48,1.478), (3.428,1.426,3.484,1.478), (3.432,1.426,3.484,1.478), (3.432,1.426,3.604,1.478), (3.552,1.426,3.66,1.59), (4.124,1.52,4.176,1.74), (3.608,1.538,3.73,1.59), (3.678,1.538,3.73,1.59), (3.678,1.538,3.73,1.59), (3.678,1.538,3.73,1.59), (3.678,1.538,3.888,1.59), (3.836,1.538,3.888,1.626), (0.228,1.554,0.28,1.774), (3.428,1.564,3.48,1.672), (3.836,1.574,3.888,1.626), (3.836,1.574,3.888,1.626), (3.836,1.574,3.998,1.626), (3.946,1.574,4.056,1.626), (3.974,1.574,4.026,1.626), (3.128,1.62,3.236,1.672), (3.184,1.62,3.236,1.672), (3.184,1.62,3.236,1.672), (3.184,1.62,3.346,1.672), (3.294,1.62,3.346,1.672), (3.294,1.62,3.48,1.672), (3.428,1.62,3.48,1.672), (3.428,1.62,3.48,1.7), (4.124,1.632,4.374,1.684), (4.322,1.632,4.374,1.684), (4.322,1.632,4.374,1.684), (4.322,1.632,4.374,1.684), (4.322,1.632,4.5,1.684), (4.448,1.632,4.5,1.684), (4.448,1.632,4.5,1.684), (4.448,1.632,4.5,1.684), (4.448,1.632,4.61,1.684), (4.558,1.632,4.61,1.684), (4.558,1.632,4.61,1.684), (4.558,1.632,4.61,1.684), (4.558,1.632,4.61,1.684), (4.558,1.632,4.61,1.684), (4.558,1.632,4.61,1.684), (4.558,1.632,4.61,1.684), (4.558,1.632,4.61,1.684), (4.558,1.632,4.666,1.684), (4.558,1.632,4.61,2.52), (4.614,1.632,4.666,1.684), (4.614,1.632,4.666,1.684), (4.614,1.632,4.784,1.684), (4.732,1.632,4.784,1.684), (4.732,1.632,4.898,1.684), (4.846,1.632,4.954,1.684), (3.428,1.648,3.73,1.7), (3.678,1.648,3.73,1.7), (3.678,1.648,3.756,1.7), (3.704,1.648,3.756,1.756), (0.5,1.676,0.552,1.784), (3.704,1.684,3.866,1.736), (3.814,1.684,3.866,1.736), (3.814,1.684,3.866,1.736), (3.814,1.684,3.866,1.736), (3.814,1.684,4.064,1.736), (4.012,1.684,4.064,1.736), (4.012,1.684,4.064,1.736), (4.012,1.684,4.064,1.736), (4.012,1.684,4.176,1.736), (0.228,1.722,0.28,1.774), (0.228,1.722,0.28,1.774), (0.228,1.722,0.28,1.774), (0.228,1.722,0.28,1.774), (0.228,1.722,0.28,1.774), (0.228,1.722,0.28,1.774), (0.228,1.722,0.28,1.774), (0.228,1.722,0.28,1.774), (0.228,1.722,0.28,1.774), (0.228,1.722,0.28,1.774), (0.228,1.722,0.28,1.774), (0.228,1.722,0.28,1.774), (0.228,1.722,0.28,1.774), (0.228,1.722,0.28,1.774), (0.228,1.722,0.28,1.774), (0.228,1.722,0.28,1.774), (0.228,1.722,0.28,1.774), (0.228,1.722,0.28,1.774), (0.228,1.722,0.28,2.52), (0.228,1.722,0.552,1.774), (0.5,1.722,0.552,1.774), (0.5,1.722,0.552,1.774), (1.338,1.836,1.39,2.056), (2.072,1.868,2.124,2.088), (2.714,1.868,2.766,2.088), (0.936,1.946,0.988,2.166), (1.622,1.946,1.73,2.11), (1.338,2.004,1.39,2.056), (1.338,2.004,1.39,2.056), (1.338,2.004,1.39,2.52), (2.072,2.036,2.124,2.088), (2.072,2.036,2.124,2.088), (2.072,2.036,2.124,2.088), (2.072,2.036,2.124,2.088), (2.072,2.036,2.124,2.088), (2.072,2.036,2.124,2.088), (2.072,2.036,2.124,2.52), (2.714,2.036,2.766,2.088), (2.714,2.036,2.766,2.088), (2.714,2.036,2.766,2.088), (2.714,2.036,2.766,2.088), (2.714,2.036,2.766,2.52), (1.622,2.058,1.674,2.52), (0.936,2.114,0.988,2.166), (0.936,2.114,0.988,2.166), (0.936,2.114,0.988,2.166), (0.936,2.114,0.988,2.166), (0.936,2.114,0.988,2.166), (0.936,2.114,0.988,2.166), (0.936,2.114,0.988,2.166), (0.936,2.114,0.988,2.166), (0.936,2.114,0.988,2.52), (0,2.468,5.12,2.56), (1.338,2.468,1.39,2.52), (1.338,2.468,1.39,2.52), (1.338,2.468,1.39,2.52), (1.338,2.468,1.39,2.52), (1.338,2.468,1.39,2.52), (1.338,2.468,1.39,2.52), (1.622,2.468,1.674,2.52), (1.622,2.468,1.674,2.52), (1.622,2.468,1.674,2.52), (1.622,2.468,1.674,2.52), (1.622,2.468,1.674,2.52), (1.622,2.468,1.674,2.52), (1.622,2.468,1.674,2.52), (1.622,2.468,1.674,2.52), (2.072,2.468,2.124,2.52), (2.072,2.468,2.124,2.52), (2.714,2.468,2.766,2.52), (2.714,2.468,2.766,2.52), (2.714,2.468,2.766,2.52), (2.714,2.468,2.766,2.52), (4.558,2.468,4.61,2.52), (4.558,2.468,4.61,2.52), (4.558,2.468,4.61,2.52), (4.558,2.468,4.61,2.52), (4.558,2.468,4.61,2.52), (4.558,2.468,4.61,2.52), (4.558,2.468,4.61,2.52), (4.558,2.468,4.61,2.52)])
R(complex24, boundary, [(0,0,5.12,2.56)])
complex24.add(gdstk.Label('CL1#A', (0.48,1.28), layer=11, texttype=0))
complex24.add(gdstk.Label('CL1#B', (0.32,1.28), layer=11, texttype=0))
complex24.add(gdstk.Label('CL2#A', (1.6,1.28), layer=11, texttype=0))
complex24.add(gdstk.Label('CL2#B', (1.44,1.28), layer=11, texttype=0))
complex24.add(gdstk.Label('CL2#C', (1.92,1.28), layer=11, texttype=0))
complex24.add(gdstk.Label('CL3#A', (3.2,1.28), layer=11, texttype=0))
complex24.add(gdstk.Label('CL3#B', (3.04,1.28), layer=11, texttype=0))
complex24.add(gdstk.Label('CL4#A', (0.96,1.28), layer=11, texttype=0))
complex24.add(gdstk.Label('CL4#B', (1.28,1.28), layer=11, texttype=0))
complex24.add(gdstk.Label('CL4#C', (0.64,1.28), layer=11, texttype=0))
complex24.add(gdstk.Label('CL5#A', (3.36,1.28), layer=11, texttype=0))
complex24.add(gdstk.Label('CL5#Y', (4,1.6), layer=11, texttype=0))
complex24.add(gdstk.Label('CL6#B', (4.32,1.12), layer=11, texttype=0))
complex24.add(gdstk.Label('CL6#C', (4.96,1.28), layer=11, texttype=0))
complex24.add(gdstk.Label('CL7#A', (4.8,1.28), layer=11, texttype=0))
complex24.add(gdstk.Label('CL7#B', (4.64,1.28), layer=11, texttype=0))

lib.write_gds('COMPLEX24.gds')
